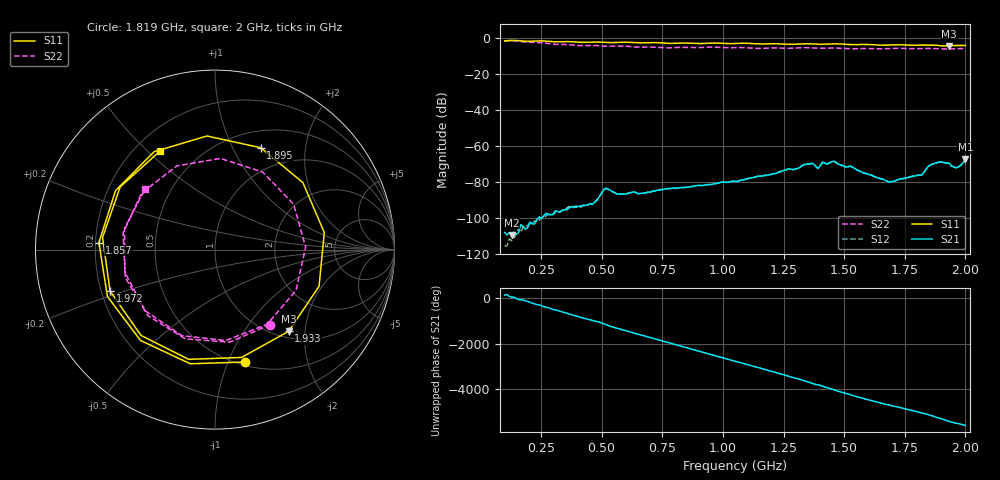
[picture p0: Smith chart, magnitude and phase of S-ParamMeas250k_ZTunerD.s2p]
!Keysight Technologies,N5242B,MY48420967,A.15.65.19
!Date: Monday, December 19, 2022 16:08:40
!Correction: S11(C  2-Port  )
!S21(C  2-Port  )
!S12(C  2-Port  )
!S22(C  2-Port  )
!S2P File: Measurements: S11, S21, S12, S22:
# Hz S  dB  R 50
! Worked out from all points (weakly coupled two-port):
!   201 points, 100 MHz to 2 GHz, reference 50 ohm
!   highest |S21| = -67.20 dB at 2 GHz (marker M1); lowest = -109.3 dB at 128.5 MHz (marker M2)
!   lowest |S11| = -4.3 dB at 1.933 GHz (marker M3), VSWR 4.17, Z = 56.3 - j82.1 ohm
!   |S11| at or under -10 dB: nowhere
!   |S22| runs from -5.9 to -1.3 dB; largest |S21 - S12| = 4.4e-06
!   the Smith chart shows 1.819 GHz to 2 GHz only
!   S11 on the Smith chart (normalised r, x): 1.819 GHz: 0.53, -1.15; 1.857 GHz: 0.21, +0.03; 1.895 GHz: 0.70, +1.29; 1.933 GHz: 1.13, -1.64; 1.972 GHz: 0.24, -0.18; 2 GHz: 0.30, +0.55
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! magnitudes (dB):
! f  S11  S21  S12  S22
! 100 MHz  -1.5  -107.9  -115.2  -1.4
! 128.5 MHz  -1.2  -109.3  -112.4  -1.4
! 423 MHz  -2.3  -93.1  -92.8  -4.1
! 736.5 MHz  -2.5  -84.4  -84.2  -5.1
! 1.05 GHz  -2.9  -79.4  -79.3  -5.2
! 1.202 GHz  -3.0  -75.5  -75.6  -5.4
! 1.268 GHz  -3.4  -72.7  -72.7  -5.6
! 1.297 GHz  -3.3  -72.8  -72.8  -5.4
! 1.335 GHz  -3.1  -70.1  -70.1  -5.2
! 1.373 GHz  -3.2  -69.7  -69.7  -5.4
! 1.392 GHz  -3.3  -72.4  -72.4  -5.5
! 1.411 GHz  -3.3  -68.9  -68.9  -5.5
! 1.43 GHz  -3.3  -69.8  -69.9  -5.5
! 1.458 GHz  -3.1  -68.3  -68.4  -5.4
! 1.687 GHz  -3.8  -79.8  -79.6  -5.7
! 1.819 GHz  -3.8  -76.0  -75.9  -5.7
! 1.857 GHz  -3.8  -70.3  -70.3  -5.6
! 1.895 GHz  -4.1  -68.7  -68.6  -5.9
! 1.933 GHz  -4.3  -69.5  -69.4  -5.9
! 1.943 GHz  -4.2  -71.1  -71.1  -5.9
! 1.972 GHz  -4.0  -71.4  -71.4  -5.7
! 2 GHz  -4.0  -67.2  -67.2  -5.8
